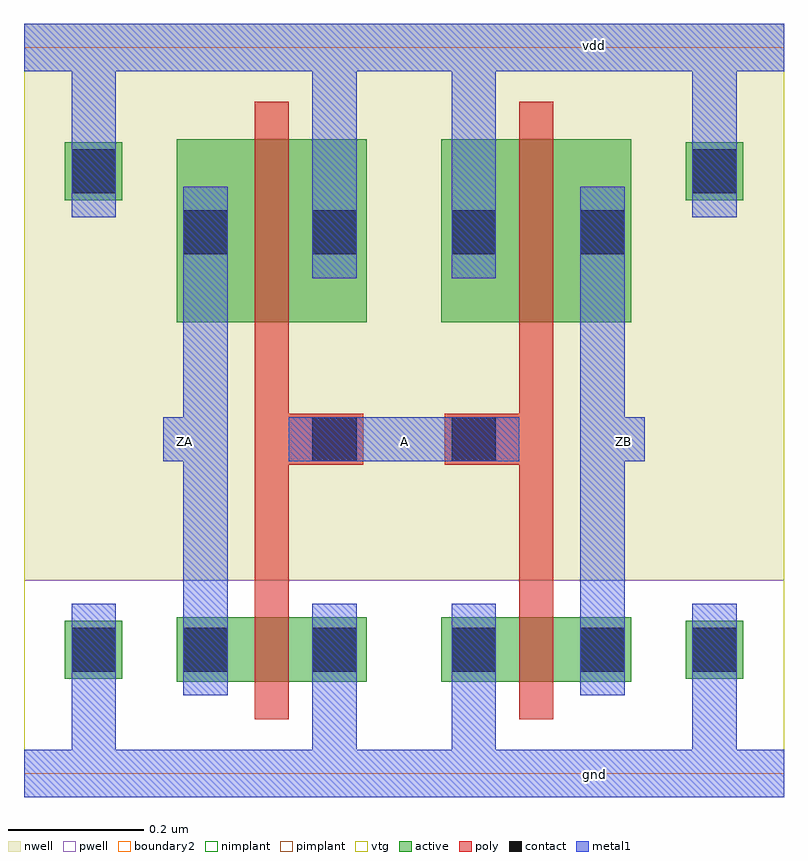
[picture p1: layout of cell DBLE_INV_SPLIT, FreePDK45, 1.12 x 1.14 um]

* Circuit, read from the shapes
.subckt DBLE_INV_SPLIT A ZA ZB gnd vdd
M1 gnd A ZA gnd nfet w=0.095u l=0.05u
M2 ZB A gnd gnd nfet w=0.095u l=0.05u
M3 vdd A ZA vdd pfet w=0.27u l=0.05u
M4 ZB A vdd vdd pfet w=0.27u l=0.05u
.ends

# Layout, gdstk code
from math import pi, radians
import gdstk
lib = gdstk.Library(unit=1e-6, precision=5e-10)
def R(c, l, rs):  # rectangles x0, y0, x1, y1
    for r in rs: c.add(gdstk.rectangle(r[:2], r[2:], *l))
def P(c, l, *ps):  # polygons
    for p in ps: c.add(gdstk.Polygon(p, *l))
active = (1, 0)
pwell = (2, 0)
nwell = (3, 0)
nimplant = (4, 0)
pimplant = (5, 0)
vtg = (6, 0)
poly = (9, 0)
contact = (10, 0)
metal1 = (11, 0)
boundary2 = (239, 0)

inv = lib.new_cell('INV')
R(inv, active, [(0.055,0.17,0.335,0.265), (0.415,0.175,0.5,0.26), (0.055,0.7,0.335,0.97), (0.415,0.88,0.5,0.965)])
R(inv, pwell, [(0,0,0.56,0.32)])
R(inv, nwell, [(0,0.32,0.56,1.14)])
R(inv, nimplant, [(0.055,0.17,0.335,0.265), (0.415,0.88,0.5,0.965)])
R(inv, pimplant, [(0.415,0.175,0.5,0.26), (0.055,0.7,0.335,0.97)])
R(inv, vtg, [(0,0,0.56,1.14)])
P(inv, poly, [(0.17,0.115),(0.17,0.49),(0.06,0.49),(0.06,0.565),(0.17,0.565),(0.17,1.025),(0.22,1.025),(0.22,0.115)])
R(inv, contact, [(0.07,0.185,0.135,0.25), (0.26,0.185,0.325,0.25), (0.425,0.185,0.49,0.25), (0.07,0.495,0.135,0.56), (0.07,0.8,0.135,0.865), (0.26,0.8,0.325,0.865), (0.425,0.89,0.49,0.955)])
R(inv, metal1, [(0.03,0.495,0.17,0.56)])
P(inv, metal1, [(0,0),(0,0.07),(0.07,0.07),(0.07,0.285),(0.135,0.285),(0.135,0.07),(0.425,0.07),(0.425,0.285),(0.49,0.285),(0.49,0.07),(0.56,0.07),(0.56,0)],
  [(0.26,0.15),(0.26,0.9),(0.325,0.9),(0.325,0.56),(0.355,0.56),(0.355,0.495),(0.325,0.495),(0.325,0.15)],
  [(0.07,0.765),(0.07,1.07),(0,1.07),(0,1.14),(0.56,1.14),(0.56,1.07),(0.49,1.07),(0.49,0.855),(0.425,0.855),(0.425,1.07),(0.135,1.07),(0.135,0.765)])
R(inv, boundary2, [(0,0.035,0.56,1.105)])
inv.add(gdstk.Label('A', (0.1,0.525), layer=11, texttype=0))
inv.add(gdstk.Label('Z', (0.3225,0.5255), layer=11, texttype=0))
inv.add(gdstk.Label('vdd', (0.28,1.108), layer=11, texttype=0))
inv.add(gdstk.Label('gnd', (0.28,0.033), layer=11, texttype=0))

dble_inv_split = lib.new_cell('DBLE_INV_SPLIT')
R(dble_inv_split, metal1, [(-0.17,0.495,0.17,0.56)])
dble_inv_split.add(gdstk.Reference(inv, (0,0)))
dble_inv_split.add(gdstk.Reference(inv, (0,0), rotation=pi, x_reflection=True))
dble_inv_split.add(gdstk.Label('vdd', (0.28,1.108), layer=11, texttype=0))
dble_inv_split.add(gdstk.Label('gnd', (0.28,0.033), layer=11, texttype=0))
dble_inv_split.add(gdstk.Label('ZB', (0.323,0.525), layer=11, texttype=0))
dble_inv_split.add(gdstk.Label('ZA', (-0.323,0.525), layer=11, texttype=0))
dble_inv_split.add(gdstk.Label('A', (0,0.525), layer=11, texttype=0))

lib.write_gds('DBLE_INV_SPLIT.gds')
